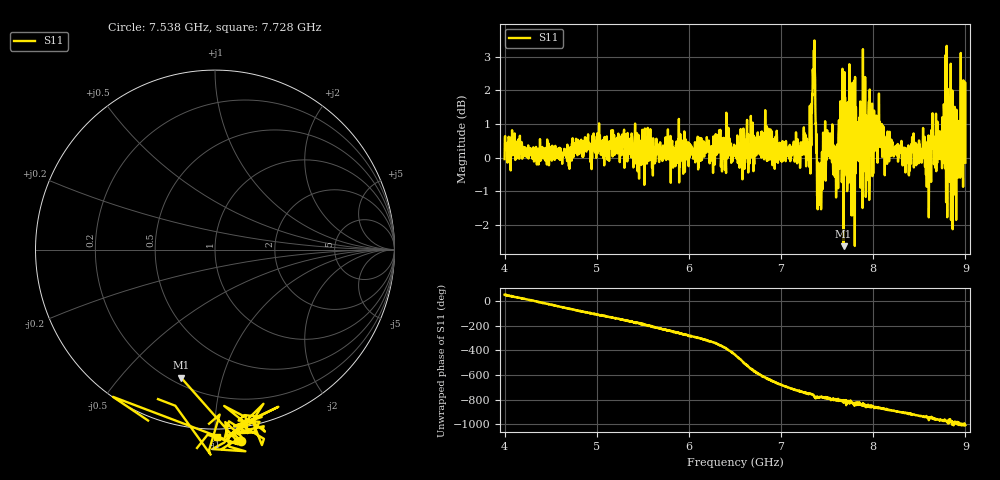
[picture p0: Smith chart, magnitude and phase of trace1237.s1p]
! Created with skrf 1.8.0 (http://scikit-rf.org).
# Hz S RI R 50.0
!freq ReS11 ImS11
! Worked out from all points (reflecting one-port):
!   1601 points, 4 GHz to 9 GHz, reference 50 ohm
!   lowest |S11| = -2.6 dB at 7.678 GHz (marker M1), VSWR 6.65, Z = 11.8 - j37.2 ohm
!   phase of S11 starts at 49 deg and turns -1056 deg over the sweep
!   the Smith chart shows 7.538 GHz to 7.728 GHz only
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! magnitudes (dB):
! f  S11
! 4 GHz  0.0
! 4.625 GHz  -0.2
! 5.25 GHz  -0.1
! 5.875 GHz  0.3
! 6.5 GHz  0.2
! 7.125 GHz  0.2
! 7.294 GHz  0.4
! 7.347 GHz  2.5
! 7.369 GHz  2.3
! 7.397 GHz  -1.5
! 7.412 GHz  -0.9
! 7.481 GHz  -0.2
! 7.594 GHz  -0.2
! 7.647 GHz  0.3
! 7.678 GHz  -2.6
! 7.75 GHz  -0.6
! 7.775 GHz  2.2
! 7.834 GHz  1.1
! 7.944 GHz  1.0
! 8.05 GHz  0.8
! 8.375 GHz  0.1
! 8.603 GHz  -1.8
! 8.631 GHz  0.8
! 8.738 GHz  0.0
! 8.775 GHz  1.1
! 8.869 GHz  -0.6
! 8.972 GHz  0.8
! 9 GHz  -0.2
